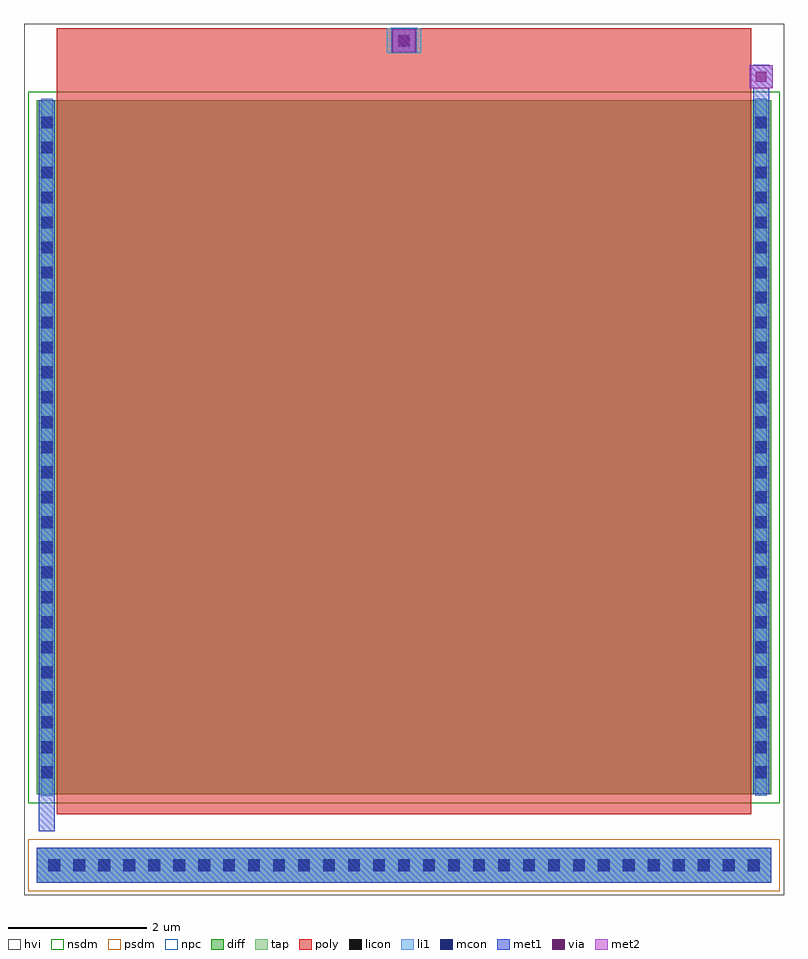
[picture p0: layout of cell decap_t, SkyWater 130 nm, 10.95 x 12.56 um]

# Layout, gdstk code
import gdstk
lib = gdstk.Library(unit=1e-6, precision=1e-09)
def R(c, l, rs):  # rectangles x0, y0, x1, y1
    for r in rs: c.add(gdstk.rectangle(r[:2], r[2:], *l))
def A(c, l, x, y, w, h, nx, ny, dx, dy):  # array of equal rectangles
    R(c, l, [(x+i*dx, y+j*dy, x+i*dx+w, y+j*dy+h) for i in range(nx) for j in range(ny)])
diff = (65, 20)
tap = (65, 44)
poly = (66, 20)
licon = (66, 44)
li1 = (67, 20)
mcon = (67, 44)
met1 = (68, 20)
via = (68, 44)
met2 = (69, 20)
hvi = (75, 20)
nsdm = (93, 44)
psdm = (94, 20)
npc = (95, 20)

decap_t = lib.new_cell('decap_t')
R(decap_t, diff, [(0,1.27,10.58,11.27)])
R(decap_t, tap, [(0,0,10.58,0.5)])
R(decap_t, poly, [(0.29,0.985,10.29,11.555), (0.29,11.27,10.29,12.13), (0.29,11.95,10.29,12.31)])
A(decap_t, licon, 0.165, 0.165, 0.17, 0.17, 29, 1, 0.36, 0)
A(decap_t, licon, 0.06, 1.505, 0.17, 0.17, 1, 27, 0, 0.36)
A(decap_t, licon, 10.35, 1.505, 0.17, 0.17, 1, 27, 0, 0.36)
R(decap_t, licon, [(5.205,12.045,5.375,12.215)])
R(decap_t, li1, [(0,0,10.58,0.5), (0.06,1.25,0.23,11.29), (10.35,1.25,10.52,11.29), (5.04,11.95,5.54,12.31)])
A(decap_t, mcon, 0.165, 0.165, 0.17, 0.17, 29, 1, 0.36, 0)
A(decap_t, mcon, 0.06, 1.505, 0.17, 0.17, 1, 27, 0, 0.36)
A(decap_t, mcon, 10.35, 1.505, 0.17, 0.17, 1, 27, 0, 0.36)
R(decap_t, mcon, [(5.205,12.045,5.375,12.215)])
R(decap_t, met1, [(0,0,10.58,0.5), (0.03,0.74,0.26,1.27), (0.03,0.74,0.26,1.08), (0.03,1.27,0.26,11.27), (10.32,1.27,10.55,11.27), (10.32,11.27,10.55,11.78), (10.32,11.44,10.55,11.78), (10.27,11.445,10.6,11.775), (5.12,11.96,5.46,12.3), (5.125,11.965,5.455,12.295)])
R(decap_t, via, [(10.36,11.535,10.51,11.685), (5.215,12.055,5.365,12.205)])
R(decap_t, met2, [(10.27,11.445,10.6,11.775), (5.125,11.965,5.455,12.295)])
R(decap_t, hvi, [(-0.185,-0.185,10.765,12.375)])
R(decap_t, nsdm, [(-0.125,1.145,10.705,11.395)])
R(decap_t, psdm, [(-0.125,-0.125,10.705,0.625)])
R(decap_t, npc, [(5.105,11.945,5.475,12.315)])

lib.write_gds('decap_t.gds')
